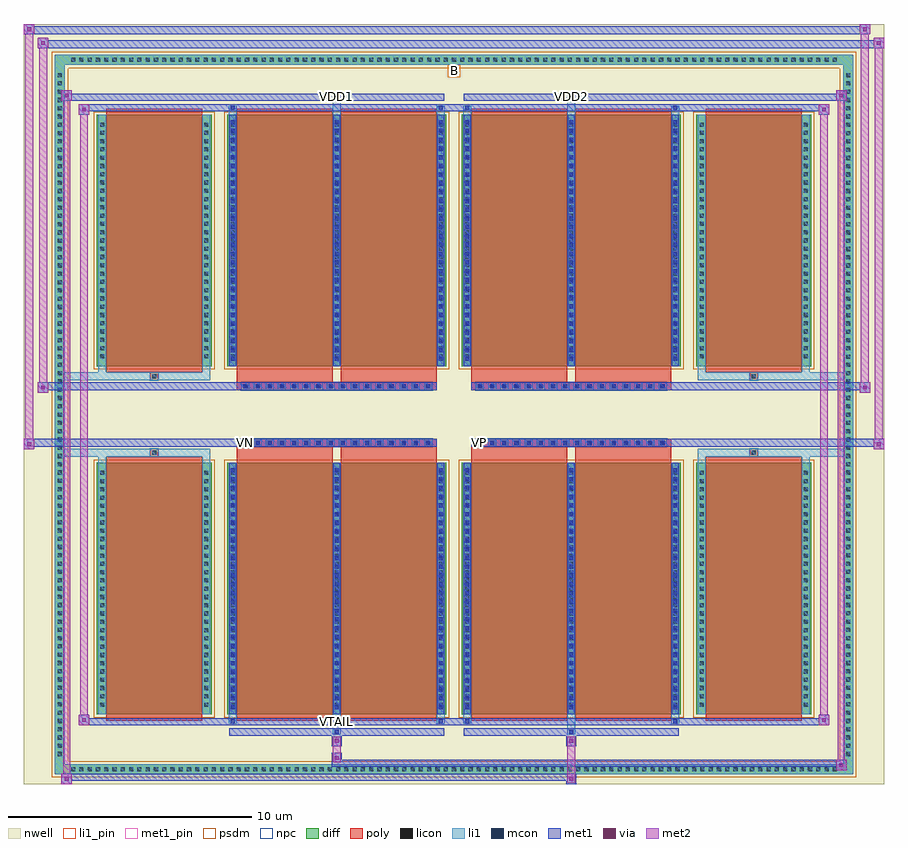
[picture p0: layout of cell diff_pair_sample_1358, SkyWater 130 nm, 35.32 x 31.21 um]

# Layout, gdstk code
import gdstk
lib = gdstk.Library(unit=1e-6, precision=5e-09)
def R(c, l, rs):  # rectangles x0, y0, x1, y1
    for r in rs: c.add(gdstk.rectangle(r[:2], r[2:], *l))
def A(c, l, x, y, w, h, nx, ny, dx, dy):  # array of equal rectangles
    R(c, l, [(x+i*dx, y+j*dy, x+i*dx+w, y+j*dy+h) for i in range(nx) for j in range(ny)])
def P(c, l, *ps):  # polygons
    for p in ps: c.add(gdstk.Polygon(p, *l))
nwell = (64, 20)
diff = (65, 20)
poly = (66, 20)
licon = (66, 44)
li1_pin = (67, 16)
li1 = (67, 20)
mcon = (67, 44)
met1_pin = (68, 16)
met1 = (68, 20)
via = (68, 44)
met2 = (69, 20)
psdm = (94, 20)
npc = (95, 20)

diff_pair_sample_1358 = lib.new_cell('diff_pair_sample_1358')
R(diff_pair_sample_1358, nwell, [(-17.66,-15.17,17.66,16.04), (-14.98,-13.36,-0.01,-0.8), (0.01,-13.36,14.98,-0.8), (-14.98,0.8,-0.01,13.36), (0.01,0.8,14.98,13.36)])
A(diff_pair_sample_1358, diff, -15.845, -14.77, 0.41, 0.41, 93, 2, 0.34, 29.13)
A(diff_pair_sample_1358, diff, -16.39, -14.145, 0.41, 0.41, 1, 83, 0, 0.34)
A(diff_pair_sample_1358, diff, 15.98, -14.145, 0.41, 0.41, 1, 83, 0, 0.34)
R(diff_pair_sample_1358, diff, [(-15.845,-14.77,15.845,-14.36), (-16.39,-14.145,-15.98,14.145), (15.98,-14.145,16.39,14.145), (-14.67,-12.315,-9.95,-1.985), (-9.31,-12.315,-0.32,-1.985), (0.32,-12.315,9.31,-1.985), (9.95,-12.315,14.67,-1.985), (-14.67,1.985,-9.95,12.315), (-9.31,1.985,-0.32,12.315), (0.32,1.985,9.31,12.315), (9.95,1.985,14.67,12.315), (-15.845,14.36,15.845,14.77)])
P(diff_pair_sample_1358, diff, [(16.39,14.77),(-16.39,14.77),(-16.39,-14.36),(-15.98,-14.36),(-15.98,14.36),(15.98,14.36),(15.98,-14.36),(-15.98,-14.36),(-16.39,-14.36),(-16.39,-14.77),(16.39,-14.77)])
A(diff_pair_sample_1358, poly, -8.73, -1.33, 0.33, 0.33, 16, 2, 0.5, 2.33)
A(diff_pair_sample_1358, poly, 0.9, -1.33, 0.33, 0.33, 16, 2, 0.5, 2.33)
R(diff_pair_sample_1358, poly, [(-14.28,-12.565,-10.34,-1.735), (-8.92,-12.565,-4.98,-1.735), (-4.65,-12.565,-0.71,-1.735), (0.71,-12.565,4.65,-1.735), (4.98,-12.565,8.92,-1.735), (10.34,-12.565,14.28,-1.735), (-12.475,-1.735,-12.145,-1.405), (-12.475,-1.735,-12.145,-1.405), (-8.92,-1.735,-4.98,-1.33), (-4.65,-1.735,-0.71,-1.33), (0.71,-1.735,4.65,-1.33), (4.98,-1.735,8.92,-1.33), (12.145,-1.735,12.475,-1.405), (12.145,-1.735,12.475,-1.405), (-8.92,-1.33,-0.71,-1), (0.71,-1.33,8.92,-1), (-8.92,1,-0.71,1.33), (0.71,1,8.92,1.33), (-8.92,1.33,-4.98,1.735), (-4.65,1.33,-0.71,1.735), (0.71,1.33,4.65,1.735), (4.98,1.33,8.92,1.735), (-12.475,1.405,-12.145,1.735), (-12.475,1.405,-12.145,1.735), (12.145,1.405,12.475,1.735), (12.145,1.405,12.475,1.735), (-14.28,1.735,-10.34,12.565), (-8.92,1.735,-4.98,12.565), (-4.65,1.735,-0.71,12.565), (0.71,1.735,4.65,12.565), (4.98,1.735,8.92,12.565), (10.34,1.735,14.28,12.565)])
A(diff_pair_sample_1358, licon, -15.725, -14.65, 0.17, 0.17, 93, 2, 0.34, 29.13)
A(diff_pair_sample_1358, licon, -16.27, -14.025, 0.17, 0.17, 1, 83, 0, 0.34)
A(diff_pair_sample_1358, licon, 16.1, -14.025, 0.17, 0.17, 1, 83, 0, 0.34)
A(diff_pair_sample_1358, licon, -14.53, -11.995, 0.17, 0.17, 1, 29, 0, 0.34)
A(diff_pair_sample_1358, licon, -10.26, -11.995, 0.17, 0.17, 1, 29, 0, 0.34)
A(diff_pair_sample_1358, licon, -9.17, -11.995, 0.17, 0.17, 3, 29, 4.27, 0.34)
A(diff_pair_sample_1358, licon, 0.46, -11.995, 0.17, 0.17, 3, 29, 4.27, 0.34)
A(diff_pair_sample_1358, licon, 10.09, -11.995, 0.17, 0.17, 1, 29, 0, 0.34)
A(diff_pair_sample_1358, licon, 14.36, -11.995, 0.17, 0.17, 1, 29, 0, 0.34)
A(diff_pair_sample_1358, licon, -8.65, -1.25, 0.17, 0.17, 16, 2, 0.5, 2.33)
A(diff_pair_sample_1358, licon, 0.98, -1.25, 0.17, 0.17, 16, 2, 0.5, 2.33)
A(diff_pair_sample_1358, licon, -14.53, 2.305, 0.17, 0.17, 1, 29, 0, 0.34)
A(diff_pair_sample_1358, licon, -10.26, 2.305, 0.17, 0.17, 1, 29, 0, 0.34)
A(diff_pair_sample_1358, licon, -9.17, 2.305, 0.17, 0.17, 3, 29, 4.27, 0.34)
A(diff_pair_sample_1358, licon, 0.46, 2.305, 0.17, 0.17, 3, 29, 4.27, 0.34)
A(diff_pair_sample_1358, licon, 10.09, 2.305, 0.17, 0.17, 1, 29, 0, 0.34)
A(diff_pair_sample_1358, licon, 14.36, 2.305, 0.17, 0.17, 1, 29, 0, 0.34)
R(diff_pair_sample_1358, licon, [(-12.395,-1.655,-12.225,-1.485), (12.225,-1.655,12.395,-1.485), (-12.395,1.485,-12.225,1.655), (12.225,1.485,12.395,1.655)])
R(diff_pair_sample_1358, li1_pin, [(-0.25,13.86,0.25,14.36)])
A(diff_pair_sample_1358, li1, -15.805, -14.73, 0.33, 0.33, 93, 2, 0.34, 29.13)
A(diff_pair_sample_1358, li1, -16.35, -14.105, 0.33, 0.33, 1, 83, 0, 0.34)
A(diff_pair_sample_1358, li1, 16.02, -14.105, 0.33, 0.33, 1, 83, 0, 0.34)
A(diff_pair_sample_1358, li1, -9.25, -12.315, 0.33, 10.33, 3, 2, 4.27, 14.3)
A(diff_pair_sample_1358, li1, 0.38, -12.315, 0.33, 10.33, 3, 2, 4.27, 14.3)
A(diff_pair_sample_1358, li1, -9.17, -12.095, 0.17, 0.17, 3, 28, 4.27, 0.36)
A(diff_pair_sample_1358, li1, -9.17, -12.095, 0.17, 9.89, 3, 2, 4.27, 14.3)
A(diff_pair_sample_1358, li1, 0.46, -12.095, 0.17, 0.17, 3, 28, 4.27, 0.36)
A(diff_pair_sample_1358, li1, 0.46, -12.095, 0.17, 9.89, 3, 2, 4.27, 14.3)
A(diff_pair_sample_1358, li1, -14.61, -12.075, 0.33, 0.33, 1, 29, 0, 0.34)
A(diff_pair_sample_1358, li1, -10.34, -12.075, 0.33, 0.33, 1, 29, 0, 0.34)
A(diff_pair_sample_1358, li1, -9.25, -12.075, 0.33, 0.33, 3, 29, 4.27, 0.34)
A(diff_pair_sample_1358, li1, 0.38, -12.075, 0.33, 0.33, 3, 29, 4.27, 0.34)
A(diff_pair_sample_1358, li1, 10.01, -12.075, 0.33, 0.33, 1, 29, 0, 0.34)
A(diff_pair_sample_1358, li1, 14.28, -12.075, 0.33, 0.33, 1, 29, 0, 0.34)
A(diff_pair_sample_1358, li1, -8.73, -1.33, 0.33, 0.33, 16, 2, 0.5, 2.33)
A(diff_pair_sample_1358, li1, 0.9, -1.33, 0.33, 0.33, 16, 2, 0.5, 2.33)
A(diff_pair_sample_1358, li1, -9.17, 2.205, 0.17, 0.17, 3, 28, 4.27, 0.36)
A(diff_pair_sample_1358, li1, 0.46, 2.205, 0.17, 0.17, 3, 28, 4.27, 0.36)
A(diff_pair_sample_1358, li1, -14.61, 2.225, 0.33, 0.33, 1, 29, 0, 0.34)
A(diff_pair_sample_1358, li1, -10.34, 2.225, 0.33, 0.33, 1, 29, 0, 0.34)
A(diff_pair_sample_1358, li1, -9.25, 2.225, 0.33, 0.33, 3, 29, 4.27, 0.34)
A(diff_pair_sample_1358, li1, 0.38, 2.225, 0.33, 0.33, 3, 29, 4.27, 0.34)
A(diff_pair_sample_1358, li1, 10.01, 2.225, 0.33, 0.33, 1, 29, 0, 0.34)
A(diff_pair_sample_1358, li1, 14.28, 2.225, 0.33, 0.33, 1, 29, 0, 0.34)
R(diff_pair_sample_1358, li1, [(-16.39,-14.77,-15.98,-14.36), (-16.39,-14.77,-15.98,-14.36), (-15.98,-14.77,15.98,-14.36), (15.98,-14.77,16.39,-14.36), (15.98,-14.77,16.39,-14.36), (-16.39,-14.36,-15.98,14.36), (15.98,-14.36,16.39,14.36), (-4.98,-13.12,-4.65,-12.315), (-4.9,-13.12,-4.73,-12.95), (4.65,-13.12,4.98,-12.315), (4.73,-13.12,4.9,-12.95), (-9.25,-12.69,-8.92,-12.315), (-9.17,-12.69,-9,-12.52), (-0.71,-12.69,-0.38,-12.315), (-0.63,-12.69,-0.46,-12.52), (0.38,-12.69,0.71,-12.315), (0.46,-12.69,0.63,-12.52), (8.92,-12.69,9.25,-12.315), (9,-12.69,9.17,-12.52), (-14.61,-12.315,-14.28,-1.985), (-10.34,-12.315,-10.01,-1.985), (10.01,-12.315,10.34,-1.985), (14.28,-12.315,14.61,-1.985), (-14.61,-1.985,-14.28,-1.405), (-10.34,-1.985,-10.01,-1.405), (10.01,-1.985,10.34,-1.405), (14.28,-1.985,14.61,-1.405), (-16.39,-1.735,-12.475,-1.405), (-14.61,-1.735,-12.475,-1.405), (-12.475,-1.735,-12.145,-1.405), (-12.145,-1.735,-10.01,-1.405), (10.01,-1.735,12.145,-1.405), (12.145,-1.735,12.475,-1.405), (12.145,-1.735,16.39,-1.405), (12.475,-1.735,14.61,-1.405), (-16.39,1.405,-12.475,1.735), (-14.61,1.405,-12.475,1.735), (-14.61,1.405,-14.28,1.985), (-12.475,1.405,-12.145,1.735), (-12.145,1.405,-10.01,1.735), (-10.34,1.405,-10.01,1.985), (10.01,1.405,12.145,1.735), (10.01,1.405,10.34,1.985), (12.145,1.405,12.475,1.735), (12.145,1.405,16.39,1.735), (12.475,1.405,14.61,1.735), (14.28,1.405,14.61,1.985), (-14.61,1.985,-14.28,12.315), (-10.34,1.985,-10.01,12.315), (10.01,1.985,10.34,12.315), (14.28,1.985,14.61,12.315), (-9.25,12.315,-8.92,12.69), (-4.98,12.315,-4.65,13.12), (-0.71,12.315,-0.38,12.69), (0.38,12.315,0.71,12.69), (4.65,12.315,4.98,13.12), (8.92,12.315,9.25,12.69), (-9.17,12.52,-9,12.69), (-0.63,12.52,-0.46,12.69), (0.46,12.52,0.63,12.69), (9,12.52,9.17,12.69), (-4.9,12.95,-4.73,13.12), (4.73,12.95,4.9,13.12), (-16.39,14.36,-15.98,14.77), (-16.39,14.36,-15.98,14.77), (-15.98,14.36,15.98,14.77), (15.98,14.36,16.39,14.77), (15.98,14.36,16.39,14.77)])
A(diff_pair_sample_1358, mcon, -9.17, -12.095, 0.17, 0.17, 3, 28, 4.27, 0.36)
A(diff_pair_sample_1358, mcon, 0.46, -12.095, 0.17, 0.17, 3, 28, 4.27, 0.36)
A(diff_pair_sample_1358, mcon, -8.65, -1.25, 0.17, 0.17, 16, 2, 0.5, 2.33)
A(diff_pair_sample_1358, mcon, 0.98, -1.25, 0.17, 0.17, 16, 2, 0.5, 2.33)
A(diff_pair_sample_1358, mcon, -9.17, 2.205, 0.17, 0.17, 3, 28, 4.27, 0.36)
A(diff_pair_sample_1358, mcon, 0.46, 2.205, 0.17, 0.17, 3, 28, 4.27, 0.36)
R(diff_pair_sample_1358, mcon, [(-4.9,-13.12,-4.73,-12.95), (4.73,-13.12,4.9,-12.95), (-9.17,-12.69,-9,-12.52), (-0.63,-12.69,-0.46,-12.52), (0.46,-12.69,0.63,-12.52), (9,-12.69,9.17,-12.52), (-9.17,12.52,-9,12.69), (-0.63,12.52,-0.46,12.69), (0.46,12.52,0.63,12.69), (9,12.52,9.17,12.69), (-4.9,12.95,-4.73,13.12), (4.73,12.95,4.9,13.12)])
R(diff_pair_sample_1358, met1_pin, [(-4.95,-12.73,-4.68,-12.46), (-8.7,-1.29,-8.43,-1.02), (0.93,-1.29,1.2,-1.02), (-4.95,12.91,-4.68,13.18), (4.68,12.91,4.95,13.18)])
A(diff_pair_sample_1358, met1, -9.23, -12.315, 0.29, 10.33, 3, 2, 4.27, 14.3)
A(diff_pair_sample_1358, met1, 0.4, -12.315, 0.29, 10.33, 3, 2, 4.27, 14.3)
A(diff_pair_sample_1358, met1, -9.23, -12.155, 0.29, 0.29, 3, 28, 4.27, 0.36)
A(diff_pair_sample_1358, met1, 0.4, -12.155, 0.29, 0.29, 3, 28, 4.27, 0.36)
A(diff_pair_sample_1358, met1, -8.71, -1.31, 0.29, 0.29, 16, 2, 0.5, 2.33)
A(diff_pair_sample_1358, met1, 0.92, -1.31, 0.29, 0.29, 16, 2, 0.5, 2.33)
A(diff_pair_sample_1358, met1, -9.23, 2.145, 0.29, 0.29, 3, 28, 4.27, 0.36)
A(diff_pair_sample_1358, met1, 0.4, 2.145, 0.29, 0.29, 3, 28, 4.27, 0.36)
R(diff_pair_sample_1358, met1, [(-16.12,-15.17,-15.69,-14.74), (4.6,-15.17,5.03,-14.74), (-16.12,-15.03,5.03,-14.74), (15.69,-14.6,16.12,-14.17), (-5.03,-14.46,16.12,-14.17), (-5.03,-14.32,-4.6,-13.89), (-5.03,-13.61,-4.6,-13.18), (4.6,-13.61,5.03,-13.18), (-9.23,-13.18,-0.4,-12.89), (-4.96,-13.18,-4.67,-12.89), (0.4,-13.18,9.23,-12.89), (4.67,-13.18,4.96,-12.89), (-15.41,-12.75,-14.98,-12.32), (-15.41,-12.75,-9.23,-12.46), (-9.23,-12.75,-8.94,-12.46), (-9.23,-12.75,-0.4,-12.46), (-0.69,-12.75,-0.4,-12.46), (-0.4,-12.75,0.4,-12.46), (0.4,-12.75,0.69,-12.46), (0.4,-12.75,9.23,-12.46), (8.94,-12.75,9.23,-12.46), (9.23,-12.75,15.41,-12.46), (14.98,-12.75,15.41,-12.32), (-17.66,-1.43,-17.23,-1), (17.23,-1.43,17.66,-1), (-17.66,-1.33,-0.71,-1), (-8.92,-1.33,-0.71,-1), (0.71,-1.33,8.92,-1), (0.71,-1.33,17.66,-1), (-17.09,0.9,-16.66,1.33), (16.66,0.9,17.09,1.33), (-17.09,1,-8.92,1.33), (-8.92,1,-0.71,1.33), (0.71,1,8.92,1.33), (8.92,1,17.09,1.33), (-15.41,12.32,-14.98,12.75), (14.98,12.32,15.41,12.75), (-15.41,12.46,-9.23,12.75), (-9.23,12.46,-8.94,12.75), (-9.23,12.46,-0.4,12.75), (-0.69,12.46,-0.4,12.75), (-0.4,12.46,0.4,12.75), (0.4,12.46,0.69,12.75), (0.4,12.46,9.23,12.75), (8.94,12.46,9.23,12.75), (9.23,12.46,15.41,12.75), (-16.12,12.89,-15.69,13.32), (-16.12,12.89,-9.23,13.18), (-9.23,12.89,-0.4,13.18), (-4.96,12.89,-4.67,13.18), (0.4,12.89,9.23,13.18), (4.67,12.89,4.96,13.18), (9.23,12.89,16.12,13.18), (15.69,12.89,16.12,13.32), (-17.09,15.04,-16.66,15.47), (-17.09,15.04,-14.98,15.37), (-14.98,15.04,14.98,15.37), (14.98,15.04,17.66,15.37), (17.23,15.04,17.66,15.47), (-17.66,15.61,-17.23,16.04), (-17.66,15.61,-14.98,15.94), (-14.98,15.61,14.98,15.94), (14.98,15.61,17.09,15.94), (16.66,15.61,17.09,16.04)])
R(diff_pair_sample_1358, via, [(-15.98,-15.03,-15.83,-14.88), (4.74,-15.03,4.89,-14.88), (15.83,-14.46,15.98,-14.31), (-4.89,-14.18,-4.74,-14.03), (-4.89,-13.47,-4.74,-13.32), (4.74,-13.47,4.89,-13.32), (-15.27,-12.61,-15.12,-12.46), (15.12,-12.61,15.27,-12.46), (-17.52,-1.29,-17.37,-1.14), (17.37,-1.29,17.52,-1.14), (-16.95,1.04,-16.8,1.19), (16.8,1.04,16.95,1.19), (-15.27,12.46,-15.12,12.61), (15.12,12.46,15.27,12.61), (-15.98,13.03,-15.83,13.18), (15.83,13.03,15.98,13.18), (-16.95,15.18,-16.8,15.33), (17.37,15.18,17.52,15.33), (-17.52,15.75,-17.37,15.9), (16.8,15.75,16.95,15.9)])
R(diff_pair_sample_1358, met2, [(-16.12,-15.17,-15.69,-14.74), (-16.05,-15.17,-15.76,13.32), (-15.76,-15.17,-15.69,-14.74), (-16.07,-15.12,-15.74,-14.79), (4.65,-15.12,4.98,-14.79), (4.65,-14.79,4.98,-13.56), (15.69,-14.6,16.12,-14.17), (15.76,-14.6,16.05,13.32), (16.05,-14.6,16.12,-14.17), (15.74,-14.55,16.07,-14.22), (-4.98,-14.27,-4.65,-13.94), (-4.98,-13.94,-4.65,-13.56), (-4.98,-13.56,-4.65,-13.23), (4.65,-13.56,4.98,-13.23), (-15.41,-12.75,-14.98,-12.32), (-15.34,-12.75,-15.05,12.75), (-15.05,-12.75,-14.98,-12.32), (14.98,-12.75,15.41,-12.32), (15.05,-12.75,15.34,12.75), (15.34,-12.75,15.41,-12.32), (-15.36,-12.7,-15.03,-12.37), (15.03,-12.7,15.36,-12.37), (-17.66,-1.43,-17.23,-1), (-17.61,-1.43,-17.28,16.04), (-17.28,-1.43,-17.23,-1), (17.23,-1.43,17.66,-1), (17.28,-1.43,17.61,15.47), (17.61,-1.43,17.66,-1), (-17.61,-1.38,-17.28,-1.05), (17.28,-1.38,17.61,-1.05), (-17.09,0.9,-16.66,1.33), (-17.04,0.9,-16.71,15.47), (-16.71,0.9,-16.66,1.33), (16.66,0.9,17.09,1.33), (16.71,0.9,17.04,16.04), (17.04,0.9,17.09,1.33), (-17.04,0.95,-16.71,1.28), (16.71,0.95,17.04,1.28), (-15.41,12.32,-14.98,12.75), (-15.05,12.32,-14.98,12.75), (14.98,12.32,15.41,12.75), (15.34,12.32,15.41,12.75), (-15.36,12.37,-15.03,12.7), (15.03,12.37,15.36,12.7), (-16.12,12.89,-15.69,13.32), (-15.76,12.89,-15.69,13.32), (15.69,12.89,16.12,13.32), (16.05,12.89,16.12,13.32), (-16.07,12.94,-15.74,13.27), (15.74,12.94,16.07,13.27), (-17.09,15.04,-16.66,15.47), (-16.71,15.04,-16.66,15.47), (17.23,15.04,17.66,15.47), (17.61,15.04,17.66,15.47), (-17.04,15.09,-16.71,15.42), (17.28,15.09,17.61,15.42), (-17.66,15.61,-17.23,16.04), (-17.28,15.61,-17.23,16.04), (16.66,15.61,17.09,16.04), (17.04,15.61,17.09,16.04), (-17.61,15.66,-17.28,15.99), (16.71,15.66,17.04,15.99)])
R(diff_pair_sample_1358, psdm, [(-14.8,-12.445,-9.82,-1.855), (-9.44,-12.445,-0.19,-1.855), (0.19,-12.445,9.44,-1.855), (9.82,-12.445,14.8,-1.855), (-14.8,1.855,-9.82,12.445), (-9.44,1.855,-0.19,12.445), (0.19,1.855,9.44,12.445), (9.82,1.855,14.8,12.445)])
P(diff_pair_sample_1358, psdm, [(16.52,14.9),(-16.52,14.9),(-16.52,-14.23),(-15.85,-14.23),(-15.85,14.23),(15.85,14.23),(15.85,-14.23),(-15.85,-14.23),(-16.52,-14.23),(-16.52,-14.9),(16.52,-14.9)])
A(diff_pair_sample_1358, npc, -8.75, -1.35, 0.37, 0.37, 16, 2, 0.5, 2.33)
A(diff_pair_sample_1358, npc, 0.88, -1.35, 0.37, 0.37, 16, 2, 0.5, 2.33)
R(diff_pair_sample_1358, npc, [(-12.495,-1.755,-12.125,-1.385), (12.125,-1.755,12.495,-1.385), (-8.75,-1.35,-7.88,-0.98), (-8.75,-1.35,-7.88,-0.98), (-8.25,-1.35,-7.38,-0.98), (-8.25,-1.35,-7.38,-0.98), (-7.75,-1.35,-6.88,-0.98), (-7.75,-1.35,-6.88,-0.98), (-7.25,-1.35,-6.38,-0.98), (-7.25,-1.35,-6.38,-0.98), (-6.75,-1.35,-5.88,-0.98), (-6.75,-1.35,-5.88,-0.98), (-6.25,-1.35,-5.38,-0.98), (-6.25,-1.35,-5.38,-0.98), (-5.75,-1.35,-4.88,-0.98), (-5.75,-1.35,-4.88,-0.98), (-5.25,-1.35,-4.38,-0.98), (-5.25,-1.35,-4.38,-0.98), (-4.75,-1.35,-3.88,-0.98), (-4.75,-1.35,-3.88,-0.98), (-4.25,-1.35,-3.38,-0.98), (-4.25,-1.35,-3.38,-0.98), (-3.75,-1.35,-2.88,-0.98), (-3.75,-1.35,-2.88,-0.98), (-3.25,-1.35,-2.38,-0.98), (-3.25,-1.35,-2.38,-0.98), (-2.75,-1.35,-1.88,-0.98), (-2.75,-1.35,-1.88,-0.98), (-2.25,-1.35,-1.38,-0.98), (-2.25,-1.35,-1.38,-0.98), (-1.75,-1.35,-0.88,-0.98), (-1.75,-1.35,-0.88,-0.98), (0.88,-1.35,1.75,-0.98), (0.88,-1.35,1.75,-0.98), (1.38,-1.35,2.25,-0.98), (1.38,-1.35,2.25,-0.98), (1.88,-1.35,2.75,-0.98), (1.88,-1.35,2.75,-0.98), (2.38,-1.35,3.25,-0.98), (2.38,-1.35,3.25,-0.98), (2.88,-1.35,3.75,-0.98), (2.88,-1.35,3.75,-0.98), (3.38,-1.35,4.25,-0.98), (3.38,-1.35,4.25,-0.98), (3.88,-1.35,4.75,-0.98), (3.88,-1.35,4.75,-0.98), (4.38,-1.35,5.25,-0.98), (4.38,-1.35,5.25,-0.98), (4.88,-1.35,5.75,-0.98), (4.88,-1.35,5.75,-0.98), (5.38,-1.35,6.25,-0.98), (5.38,-1.35,6.25,-0.98), (5.88,-1.35,6.75,-0.98), (5.88,-1.35,6.75,-0.98), (6.38,-1.35,7.25,-0.98), (6.38,-1.35,7.25,-0.98), (6.88,-1.35,7.75,-0.98), (6.88,-1.35,7.75,-0.98), (7.38,-1.35,8.25,-0.98), (7.38,-1.35,8.25,-0.98), (7.88,-1.35,8.75,-0.98), (7.88,-1.35,8.75,-0.98), (-8.75,0.98,-7.88,1.35), (-8.75,0.98,-7.88,1.35), (-8.25,0.98,-7.38,1.35), (-8.25,0.98,-7.38,1.35), (-7.75,0.98,-6.88,1.35), (-7.75,0.98,-6.88,1.35), (-7.25,0.98,-6.38,1.35), (-7.25,0.98,-6.38,1.35), (-6.75,0.98,-5.88,1.35), (-6.75,0.98,-5.88,1.35), (-6.25,0.98,-5.38,1.35), (-6.25,0.98,-5.38,1.35), (-5.75,0.98,-4.88,1.35), (-5.75,0.98,-4.88,1.35), (-5.25,0.98,-4.38,1.35), (-5.25,0.98,-4.38,1.35), (-4.75,0.98,-3.88,1.35), (-4.75,0.98,-3.88,1.35), (-4.25,0.98,-3.38,1.35), (-4.25,0.98,-3.38,1.35), (-3.75,0.98,-2.88,1.35), (-3.75,0.98,-2.88,1.35), (-3.25,0.98,-2.38,1.35), (-3.25,0.98,-2.38,1.35), (-2.75,0.98,-1.88,1.35), (-2.75,0.98,-1.88,1.35), (-2.25,0.98,-1.38,1.35), (-2.25,0.98,-1.38,1.35), (-1.75,0.98,-0.88,1.35), (-1.75,0.98,-0.88,1.35), (0.88,0.98,1.75,1.35), (0.88,0.98,1.75,1.35), (1.38,0.98,2.25,1.35), (1.38,0.98,2.25,1.35), (1.88,0.98,2.75,1.35), (1.88,0.98,2.75,1.35), (2.38,0.98,3.25,1.35), (2.38,0.98,3.25,1.35), (2.88,0.98,3.75,1.35), (2.88,0.98,3.75,1.35), (3.38,0.98,4.25,1.35), (3.38,0.98,4.25,1.35), (3.88,0.98,4.75,1.35), (3.88,0.98,4.75,1.35), (4.38,0.98,5.25,1.35), (4.38,0.98,5.25,1.35), (4.88,0.98,5.75,1.35), (4.88,0.98,5.75,1.35), (5.38,0.98,6.25,1.35), (5.38,0.98,6.25,1.35), (5.88,0.98,6.75,1.35), (5.88,0.98,6.75,1.35), (6.38,0.98,7.25,1.35), (6.38,0.98,7.25,1.35), (6.88,0.98,7.75,1.35), (6.88,0.98,7.75,1.35), (7.38,0.98,8.25,1.35), (7.38,0.98,8.25,1.35), (7.88,0.98,8.75,1.35), (7.88,0.98,8.75,1.35), (-12.495,1.385,-12.125,1.755), (12.125,1.385,12.495,1.755)])
diff_pair_sample_1358.add(gdstk.Label('VTAIL', (-4.815,-12.595), layer=68, texttype=5))
diff_pair_sample_1358.add(gdstk.Label('VN', (-8.565,-1.155), layer=68, texttype=5))
diff_pair_sample_1358.add(gdstk.Label('VP', (1.065,-1.155), layer=68, texttype=5))
diff_pair_sample_1358.add(gdstk.Label('B', (0,14.11), layer=67, texttype=5))
diff_pair_sample_1358.add(gdstk.Label('VDD2', (4.815,13.045), layer=68, texttype=5))
diff_pair_sample_1358.add(gdstk.Label('VDD1', (-4.815,13.045), layer=68, texttype=5))

lib.write_gds('diff_pair_sample_1358.gds')
